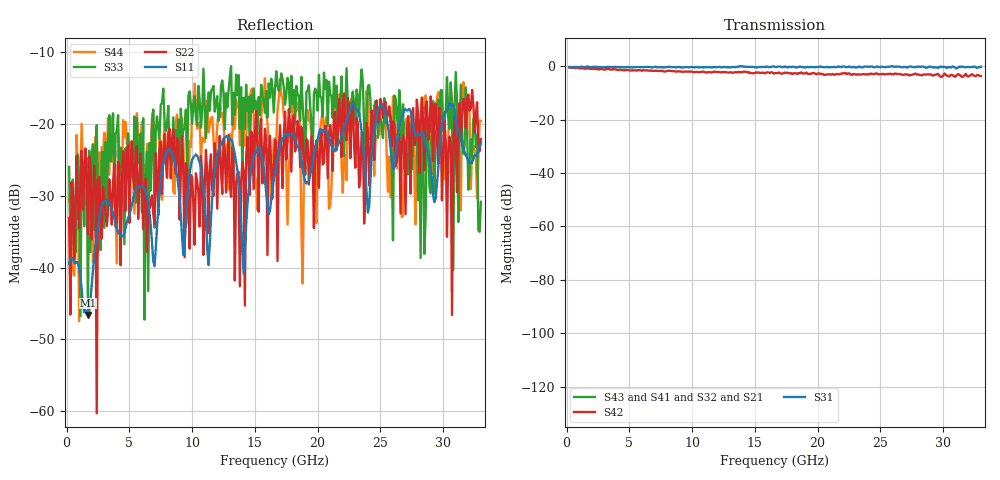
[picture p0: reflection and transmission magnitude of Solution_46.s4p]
# GHZ S RI R 50
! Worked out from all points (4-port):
!   329 points, 200 MHz to 33 GHz, reference 50 ohm
!   strongest paths, dB at 200 MHz, 8.4 GHz, 16.6 GHz, 24.8 GHz, 33 GHz:
!     S31: -0.4, -0.4, -0.3, -0.2, -0.2
!     S42: -0.5, -1.9, -2.6, -2.9, -3.7
!     S43: -, -, -, -, -
!     S41: -, -, -, -, -
!     S32: -, -, -, -, -
!     S21: -, -, -, -, -
!   lowest |S11| = -46.6 dB at 1.7 GHz (marker M1), VSWR 1.01, Z = 50.1 - j0.457 ohm
!   |S11| at or under -10 dB: start of sweep to end of sweep
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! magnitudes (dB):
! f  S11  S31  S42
! 200 MHz  -39.5  -0.4  -0.5
! 1.7 GHz  -46.6  -0.1  -0.8
! 2.3 GHz  -36.9  -0.3  -1.0
! 2.4 GHz  -35.6  -0.3  -1.1
! 2.6 GHz  -33.0  -0.4  -1.2
! 10.9 GHz  -29.0  -0.5  -2.0
! 33 GHz  -22.6  -0.2  -3.7
